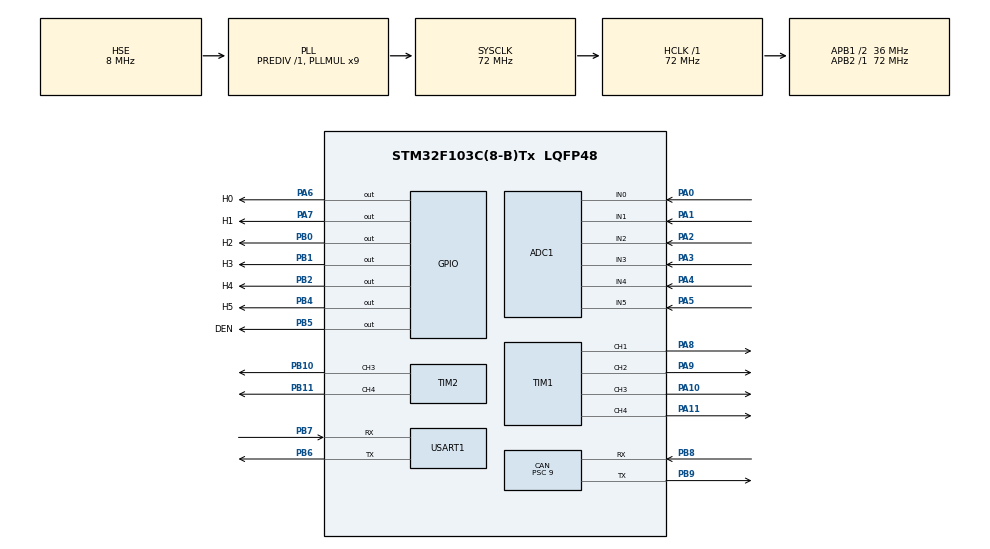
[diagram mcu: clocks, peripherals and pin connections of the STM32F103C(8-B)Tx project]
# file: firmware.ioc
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ADC1.Channel-0\#ChannelRegularConversion=ADC_CHANNEL_0
ADC1.Channel-1\#ChannelRegularConversion=ADC_CHANNEL_1
ADC1.Channel-2\#ChannelRegularConversion=ADC_CHANNEL_2
ADC1.Channel-3\#ChannelRegularConversion=ADC_CHANNEL_3
ADC1.Channel-4\#ChannelRegularConversion=ADC_CHANNEL_4
ADC1.Channel-5\#ChannelRegularConversion=ADC_CHANNEL_5
ADC1.Channel-6\#ChannelRegularConversion=ADC_CHANNEL_TEMPSENSOR
ADC1.NbrOfConversion=7
ADC1.NbrOfConversionFlag=1
ADC1.Rank-0\#ChannelRegularConversion=1
ADC1.Rank-1\#ChannelRegularConversion=2
ADC1.Rank-2\#ChannelRegularConversion=3
ADC1.Rank-3\#ChannelRegularConversion=4
ADC1.Rank-4\#ChannelRegularConversion=5
ADC1.Rank-5\#ChannelRegularConversion=6
ADC1.Rank-6\#ChannelRegularConversion=7
ADC1.SamplingTime-0\#ChannelRegularConversion=ADC_SAMPLETIME_239CYCLES_5
ADC1.SamplingTime-1\#ChannelRegularConversion=ADC_SAMPLETIME_239CYCLES_5
ADC1.SamplingTime-2\#ChannelRegularConversion=ADC_SAMPLETIME_239CYCLES_5
ADC1.SamplingTime-3\#ChannelRegularConversion=ADC_SAMPLETIME_239CYCLES_5
ADC1.SamplingTime-4\#ChannelRegularConversion=ADC_SAMPLETIME_239CYCLES_5
ADC1.SamplingTime-5\#ChannelRegularConversion=ADC_SAMPLETIME_239CYCLES_5
ADC1.SamplingTime-6\#ChannelRegularConversion=ADC_SAMPLETIME_239CYCLES_5
ADC1.master=1
CAN.BS1=CAN_BS1_6TQ
CAN.CalculateBaudRate=500000
CAN.CalculateTimeBit=2000
CAN.CalculateTimeQuantum=250.0
CAN.Mode=CAN_MODE_NORMAL
CAN.NART=ENABLE
CAN.Prescaler=9
Dma.ADC1.0.Direction=DMA_PERIPH_TO_MEMORY
Dma.ADC1.0.Instance=DMA1_Channel1
Dma.ADC1.0.MemDataAlignment=DMA_MDATAALIGN_HALFWORD
Dma.ADC1.0.MemInc=DMA_MINC_ENABLE
Dma.ADC1.0.Mode=DMA_NORMAL
Dma.ADC1.0.PeriphDataAlignment=DMA_PDATAALIGN_HALFWORD
Dma.ADC1.0.PeriphInc=DMA_PINC_DISABLE
Dma.ADC1.0.Priority=DMA_PRIORITY_LOW
Dma.Request0=ADC1
Mcu.Family=STM32F1
Mcu.Name=STM32F103C(8-B)Tx
Mcu.Package=LQFP48
NVIC.DMA1_Channel1_IRQn=true\:0\:0\:false\:false\:true\:false\:true\:true
NVIC.PriorityGroup=NVIC_PRIORITYGROUP_4
NVIC.USB_LP_CAN1_RX0_IRQn=true\:0\:0\:false\:false\:true\:true\:true\:true
PA0-WKUP.Signal=ADCx_IN0
PA1.Signal=ADCx_IN1
PA10.Signal=S_TIM1_CH3
PA11.Signal=S_TIM1_CH4
PA13.Mode=Trace_Asynchronous_SW
PA13.Signal=SYS_JTMS-SWDIO
PA14.Mode=Trace_Asynchronous_SW
PA14.Signal=SYS_JTCK-SWCLK
PA2.Signal=ADCx_IN2
PA3.Signal=ADCx_IN3
PA4.Signal=ADCx_IN4
PA5.Signal=ADCx_IN5
PA6.GPIO_Label=H0
PA6.Signal=GPIO_Output
PA7.GPIO_Label=H1
PA7.Signal=GPIO_Output
PA8.Signal=S_TIM1_CH1
PA9.Signal=S_TIM1_CH2
PB0.GPIO_Label=H2
PB0.Signal=GPIO_Output
PB1.GPIO_Label=H3
PB1.Signal=GPIO_Output
PB10.Signal=S_TIM2_CH3
PB11.Signal=S_TIM2_CH4
PB2.GPIO_Label=H4
PB2.Signal=GPIO_Output
PB3.Mode=Trace_Asynchronous_SW
PB3.Signal=SYS_JTDO-TRACESWO
PB4.GPIO_Label=H5
PB4.Signal=GPIO_Output
PB5.GPIO_Label=DEN
PB5.Signal=GPIO_Output
PB6.Mode=Asynchronous
PB6.Signal=USART1_TX
PB7.Mode=Asynchronous
PB7.Signal=USART1_RX
PB8.GPIO_Mode=GPIO_MODE_INPUT
PB8.GPIO_PuPd=GPIO_NOPULL
PB8.Mode=CAN_Activate
PB8.Signal=CAN_RX
PB9.Mode=CAN_Activate
PB9.Signal=CAN_TX
PD0-OSC_IN.Mode=HSE-External-Oscillator
PD0-OSC_IN.Signal=RCC_OSC_IN
PD1-OSC_OUT.Mode=HSE-External-Oscillator
PD1-OSC_OUT.Signal=RCC_OSC_OUT
ProjectManager.HeapSize=0x200
ProjectManager.StackSize=0x400
ProjectManager.TargetToolchain=Makefile
RCC.ADCPresc=RCC_ADCPCLK2_DIV6
RCC.AHBFreq_Value=72000000
RCC.APB1CLKDivider=RCC_HCLK_DIV2
RCC.APB1Freq_Value=36000000
RCC.APB1TimFreq_Value=72000000
RCC.APB2Freq_Value=72000000
RCC.APB2TimFreq_Value=72000000
RCC.HCLKFreq_Value=72000000
RCC.PLLMUL=RCC_PLL_MUL9
RCC.PLLSourceVirtual=RCC_PLLSOURCE_HSE
RCC.SYSCLKFreq_VALUE=72000000
RCC.SYSCLKSource=RCC_SYSCLKSOURCE_PLLCLK
RCC.USBFreq_Value=72000000
SH.ADCx_IN0.0=ADC1_IN0,IN0
SH.ADCx_IN1.0=ADC1_IN1,IN1
SH.ADCx_IN2.0=ADC1_IN2,IN2
SH.ADCx_IN3.0=ADC1_IN3,IN3
SH.ADCx_IN4.0=ADC1_IN4,IN4
SH.ADCx_IN5.0=ADC1_IN5,IN5
SH.S_TIM1_CH1.0=TIM1_CH1,PWM Generation1 CH1
SH.S_TIM1_CH2.0=TIM1_CH2,Output Compare2 CH2
SH.S_TIM1_CH3.0=TIM1_CH3,PWM Generation3 CH3
SH.S_TIM1_CH4.0=TIM1_CH4,PWM Generation4 CH4
SH.S_TIM2_CH3.0=TIM2_CH3,PWM Generation3 CH3
SH.S_TIM2_CH4.0=TIM2_CH4,PWM Generation4 CH4
TIM1.Channel-Output\ Compare2\ CH2=TIM_CHANNEL_2
TIM1.Channel-PWM\ Generation1\ CH1=TIM_CHANNEL_1
TIM1.Channel-PWM\ Generation3\ CH3=TIM_CHANNEL_3
TIM1.Channel-PWM\ Generation4\ CH4=TIM_CHANNEL_4
TIM2.Channel-PWM\ Generation3\ CH3=TIM_CHANNEL_3
TIM2.Channel-PWM\ Generation4\ CH4=TIM_CHANNEL_4
USART1.VirtualMode=VM_ASYNC
VP_ADC1_TempSens_Input.Mode=IN-TempSens
VP_TIM1_VS_ClockSourceINT.Mode=Internal
VP_TIM2_VS_ClockSourceINT.Mode=Internal
board=custom

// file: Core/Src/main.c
/* USER CODE BEGIN Header */
/**
  ******************************************************************************
  * @file           : main.c
  * @brief          : Main program body
  ******************************************************************************
  * @attention
  *
  * Copyright (c) 2023 STMicroelectronics.
  * All rights reserved.
  *
  * This software is licensed under terms that can be found in the LICENSE file
  * in the root directory of this software component.
  * If no LICENSE file comes with this software, it is provided AS-IS.
  *
  ******************************************************************************
  */
/* USER CODE END Header */
#include "main.h"

/* USER CODE BEGIN Includes */
#include "pwm.h"
#include "can-ids/CAN.h"
/* USER CODE END Includes */

ADC_HandleTypeDef hadc1;
DMA_HandleTypeDef hdma_adc1;

CAN_HandleTypeDef hcan;

TIM_HandleTypeDef htim1;
TIM_HandleTypeDef htim2;

UART_HandleTypeDef huart1;

/* USER CODE BEGIN PV */
volatile uint16_t adc_values[7];
/* USER CODE END PV */

void SystemClock_Config(void);
static void MX_GPIO_Init(void);
static void MX_DMA_Init(void);
static void MX_CAN_Init(void);
static void MX_ADC1_Init(void);
static void MX_TIM1_Init(void);
static void MX_TIM2_Init(void);
static void MX_USART1_UART_Init(void);
/* USER CODE BEGIN PFP */
void can_irq(CAN_HandleTypeDef *pcan);
/* USER CODE END PFP */

/* USER CODE BEGIN 0 */

uint16_t u8_to_duty(uint8_t val) {
  return ((uint32_t)val) * 65535 / 255;
}

// CAN Interrupt handler. Called whenever a new CAN frame is received.
void can_irq(CAN_HandleTypeDef *pcan) {
  // Message header
  CAN_RxHeaderTypeDef msg;
  // Message data. Only filled with as much data as the message contained, the rest is garbage.
  uint8_t data[8];

  // Read the next CAN frame
  HAL_CAN_GetRxMessage(pcan, CAN_RX_FIFO0, &msg, data);
  if(msg.IDE == CAN_ID_STD) { // Standard CAN ID, we don't use extended IDs.
    switch (msg.StdId)
      {
      // BCM Cannot reboot with bootloader or else everything connected to it will lose power and fail to respond
      // case BOOTLOADER_ID:
      //   __NVIC_SystemReset(); // Reset to bootloader
      //   break;
      case BCM_COMMAND_EV_ID:
        // set PWM duties for low-side drivers
        // pumps are on/off only
        uint8_t accum_pump_duty = read_field_u8(&BCM_COMMAND_EV_L0_AccumPump, data);
        if(accum_pump_duty > 0) accum_pump_duty = 255;

        uint8_t motor_pump_duty = read_field_u8(&BCM_COMMAND_EV_L1_MotorPump, data);
        if(motor_pump_duty > 0) motor_pump_duty = 255;

        pwm_duties[0] = u8_to_duty(accum_pump_duty);
        pwm_duties[1] = u8_to_duty(motor_pump_duty);

        pwm_duties[2] = u8_to_duty(read_field_u8(&BCM_COMMAND_EV_L2_AccumFan, data));
        pwm_duties[3] = u8_to_duty(read_field_u8(&BCM_COMMAND_EV_L3_MotorFan, data));
        pwm_duties[4] = u8_to_duty(read_field_u8(&BCM_COMMAND_EV_L4_BrakeLight, data));
        pwm_duties[5] = u8_to_duty(read_field_u8(&BCM_COMMAND_EV_L5_Sound, data));

        update_pwm();

        // set high-side drivers
        HAL_GPIO_WritePin(H0_GPIO_Port, H0_Pin, read_field_u8(&BCM_COMMAND_EV_H0_ShutdownPower, data));
        HAL_GPIO_WritePin(H1_GPIO_Port, H1_Pin, read_field_u8(&BCM_COMMAND_EV_H1_DashboardPower, data));
        HAL_GPIO_WritePin(H2_GPIO_Port, H2_Pin, read_field_u8(&BCM_COMMAND_EV_H2_BSPDPower, data));
        HAL_GPIO_WritePin(H3_GPIO_Port, H3_Pin, read_field_u8(&BCM_COMMAND_EV_H3_AccumulatorPower, data));

        // dont let the VCU commit suicide
        // HAL_GPIO_WritePin(H4_GPIO_Port, H4_Pin, 0);

        HAL_GPIO_WritePin(H5_GPIO_Port, H5_Pin, read_field_u8(&BCM_COMMAND_EV_H5_InverterPower, data));
        break;

      // case BCM_COMMAND_ID:
      //   uint8_t water_pump_duty = read_field_u8(&BCM_COMMAND_water_pump_duty, data);
      //   uint8_t rad_fan_duty = read_field_u8(&BCM_COMMAND_radiator_fan_duty, data);
      //   uint8_t extra_fan_duty = read_field_u8(&BCM_COMMAND_extra_fan_duty, data);

      //   pwm_duties[2] = ((uint32_t)water_pump_duty) * 65535 / 100;
      //   pwm_duties[5] = ((uint32_t)rad_fan_duty) * 65535 / 100;
      //   pwm_duties[4] = ((uint32_t)extra_fan_duty) * 65535 / 100;
      //   update_pwm();

      //   uint8_t upshift = read_field_u8(&BCM_COMMAND_upshift, data);
      //   uint8_t downshift = read_field_u8(&BCM_COMMAND_downshift, data);
      //   uint8_t brake_light = read_field_u8(&BCM_COMMAND_brake_light, data);

      //   HAL_GPIO_WritePin(H1_GPIO_Port, H1_Pin, upshift);
      //   HAL_GPIO_WritePin(H4_GPIO_Port, H4_Pin, downshift);
      //   HAL_GPIO_WritePin(H3_GPIO_Port, H3_Pin, brake_light);
      //   break;
      default:
        // Default behavior for unrecognized CAN IDs. Probably just ignore.
        break;
      }
  }

}

/* USER CODE END 0 */

int main(void)
{
  /* USER CODE BEGIN 1 */
  // Relocate vector table to work with bootloader
  // THIS IS CRITICAL FOR THE APP TO WORK, DO NOT DELETE!
  SCB->VTOR = (uint32_t)0x08003000;
  /* USER CODE END 1 */

  /* MCU Configuration--------------------------------------------------------*/

  /* Reset of all peripherals, Initializes the Flash interface and the Systick. */
  HAL_Init();

  /* Configure the system clock */
  SystemClock_Config();

  /* Initialize all configured peripherals */
  MX_GPIO_Init();
  MX_DMA_Init();
  MX_CAN_Init();
  MX_ADC1_Init();
  MX_TIM1_Init();
  MX_TIM2_Init();
  MX_USART1_UART_Init();
  /* USER CODE BEGIN 2 */

  // Calibrate The ADC On Power-Up For Better Accuracy
  HAL_ADCEx_Calibration_Start(&hadc1);

  /* USER CODE END 2 */

  /* Infinite loop */
  /* USER CODE BEGIN WHILE */
  uint32_t output_sw_timer = 0;
  for(uint8_t i = 0; i < 6; ++i){
    pwm_duties[i] = 0;
  }

  HAL_GPIO_WritePin(H0_GPIO_Port, H0_Pin, 0);
  HAL_GPIO_WritePin(H1_GPIO_Port, H1_Pin, 0);
  HAL_GPIO_WritePin(H2_GPIO_Port, H2_Pin, 0);
  HAL_GPIO_WritePin(H3_GPIO_Port, H3_Pin, 0);
  HAL_GPIO_WritePin(H4_GPIO_Port, H4_Pin, 0);
  HAL_GPIO_WritePin(H5_GPIO_Port, H5_Pin, 0);

  // VCU is constantly on
  HAL_GPIO_WritePin(H4_GPIO_Port, H4_Pin, 1);

  // why not turn on the inverter too?
  HAL_GPIO_WritePin(H5_GPIO_Port, H5_Pin, 1);

  pwm_frequency_01 = 24;
  pwm_frequency_2345 = 24;
  update_pwm();
  init_pwm();

  while (1)
  {
    HAL_Delay(50); // Main Loop (Could be done with systick instead)

    // Toggle status LED
    HAL_ADC_Start_DMA(&hadc1, (uint32_t *)adc_values, 1);
    // //pwm_frequency_01 = (pwm_frequency_01 + 1) % 16;
    // for(uint8_t i = 0; i < 6; ++i) {
    //   pwm_duties[i] += 100;
    //   if(pwm_duties[i] < 0x6000) pwm_duties[i] = 0x6000;
    // }
    // update_pwm();

    // output_sw_timer ++;
    // if(output_sw_timer > 50) {
    //   HAL_GPIO_TogglePin(H0_GPIO_Port, H0_Pin);
    //   HAL_GPIO_TogglePin(H1_GPIO_Port, H1_Pin);
    //   HAL_GPIO_TogglePin(H2_GPIO_Port, H2_Pin);
    //   HAL_GPIO_TogglePin(H3_GPIO_Port, H3_Pin);
    //   HAL_GPIO_TogglePin(H4_GPIO_Port, H4_Pin);
    //   HAL_GPIO_TogglePin(H5_GPIO_Port, H5_Pin);
    //   output_sw_timer = 0;
    // }

    /* USER CODE END WHILE */

  }
}

void SystemClock_Config(void)
{
  RCC_OscInitTypeDef RCC_OscInitStruct = {0};
  RCC_ClkInitTypeDef RCC_ClkInitStruct = {0};
  RCC_PeriphCLKInitTypeDef PeriphClkInit = {0};

  /** Initializes the RCC Oscillators according to the specified parameters
  * in the RCC_OscInitTypeDef structure.
  */
  RCC_OscInitStruct.OscillatorType = RCC_OSCILLATORTYPE_HSE;
  RCC_OscInitStruct.HSEState = RCC_HSE_ON;
  RCC_OscInitStruct.HSEPredivValue = RCC_HSE_PREDIV_DIV1;
  RCC_OscInitStruct.HSIState = RCC_HSI_ON;
  RCC_OscInitStruct.PLL.PLLState = RCC_PLL_ON;
  RCC_OscInitStruct.PLL.PLLSource = RCC_PLLSOURCE_HSE;
  RCC_OscInitStruct.PLL.PLLMUL = RCC_PLL_MUL9;
  if (HAL_RCC_OscConfig(&RCC_OscInitStruct) != HAL_OK)
  {
    Error_Handler();
  }

  /** Initializes the CPU, AHB and APB buses clocks
  */
  RCC_ClkInitStruct.ClockType = RCC_CLOCKTYPE_HCLK|RCC_CLOCKTYPE_SYSCLK
                              |RCC_CLOCKTYPE_PCLK1|RCC_CLOCKTYPE_PCLK2;
  RCC_ClkInitStruct.SYSCLKSource = RCC_SYSCLKSOURCE_PLLCLK;
  RCC_ClkInitStruct.AHBCLKDivider = RCC_SYSCLK_DIV1;
  RCC_ClkInitStruct.APB1CLKDivider = RCC_HCLK_DIV2;
  RCC_ClkInitStruct.APB2CLKDivider = RCC_HCLK_DIV1;

  if (HAL_RCC_ClockConfig(&RCC_ClkInitStruct, FLASH_LATENCY_2) != HAL_OK)
  {
    Error_Handler();
  }
  PeriphClkInit.PeriphClockSelection = RCC_PERIPHCLK_ADC;
  PeriphClkInit.AdcClockSelection = RCC_ADCPCLK2_DIV6;
  if (HAL_RCCEx_PeriphCLKConfig(&PeriphClkInit) != HAL_OK)
  {
    Error_Handler();
  }
}

static void MX_ADC1_Init(void)
{

  ADC_ChannelConfTypeDef sConfig = {0};

  /** Common config
  */
  hadc1.Instance = ADC1;
  hadc1.Init.ScanConvMode = ADC_SCAN_ENABLE;
  hadc1.Init.ContinuousConvMode = DISABLE;
  hadc1.Init.DiscontinuousConvMode = DISABLE;
  hadc1.Init.ExternalTrigConv = ADC_SOFTWARE_START;
  hadc1.Init.DataAlign = ADC_DATAALIGN_RIGHT;
  hadc1.Init.NbrOfConversion = 7;
  if (HAL_ADC_Init(&hadc1) != HAL_OK)
  {
    Error_Handler();
  }

  /** Configure Regular Channel
  */
  sConfig.Channel = ADC_CHANNEL_0;
  sConfig.Rank = ADC_REGULAR_RANK_1;
  sConfig.SamplingTime = ADC_SAMPLETIME_239CYCLES_5;
  if (HAL_ADC_ConfigChannel(&hadc1, &sConfig) != HAL_OK)
  {
    Error_Handler();
  }

  /** Configure Regular Channel
  */
  sConfig.Channel = ADC_CHANNEL_1;
  sConfig.Rank = ADC_REGULAR_RANK_2;
  if (HAL_ADC_ConfigChannel(&hadc1, &sConfig) != HAL_OK)
  {
    Error_Handler();
  }

  /** Configure Regular Channel
  */
  sConfig.Channel = ADC_CHANNEL_2;
  sConfig.Rank = ADC_REGULAR_RANK_3;
  if (HAL_ADC_ConfigChannel(&hadc1, &sConfig) != HAL_OK)
  {
    Error_Handler();
  }

  /** Configure Regular Channel
  */
  sConfig.Channel = ADC_CHANNEL_3;
  sConfig.Rank = ADC_REGULAR_RANK_4;
  if (HAL_ADC_ConfigChannel(&hadc1, &sConfig) != HAL_OK)
  {
    Error_Handler();
  }

  /** Configure Regular Channel
  */
  sConfig.Channel = ADC_CHANNEL_4;
  sConfig.Rank = ADC_REGULAR_RANK_5;
  if (HAL_ADC_ConfigChannel(&hadc1, &sConfig) != HAL_OK)
  {
    Error_Handler();
  }

  /** Configure Regular Channel
  */
  sConfig.Channel = ADC_CHANNEL_5;
  sConfig.Rank = ADC_REGULAR_RANK_6;
  if (HAL_ADC_ConfigChannel(&hadc1, &sConfig) != HAL_OK)
  {
    Error_Handler();
  }

  /** Configure Regular Channel
  */
  sConfig.Channel = ADC_CHANNEL_TEMPSENSOR;
  sConfig.Rank = ADC_REGULAR_RANK_7;
  if (HAL_ADC_ConfigChannel(&hadc1, &sConfig) != HAL_OK)
  {
    Error_Handler();
  }

}

static void MX_CAN_Init(void)
{

  hcan.Instance = CAN1;
  hcan.Init.Prescaler = 9;
  hcan.Init.Mode = CAN_MODE_NORMAL;
  hcan.Init.SyncJumpWidth = CAN_SJW_1TQ;
  hcan.Init.TimeSeg1 = CAN_BS1_6TQ;
  hcan.Init.TimeSeg2 = CAN_BS2_1TQ;
  hcan.Init.TimeTriggeredMode = DISABLE;
  hcan.Init.AutoBusOff = DISABLE;
  hcan.Init.AutoWakeUp = DISABLE;
  hcan.Init.AutoRetransmission = ENABLE;
  hcan.Init.ReceiveFifoLocked = DISABLE;
  hcan.Init.TransmitFifoPriority = DISABLE;
  if (HAL_CAN_Init(&hcan) != HAL_OK)
  {
    Error_Handler();
  }
  /* USER CODE BEGIN CAN_Init 2 */
  // Accept all CAN messages
  CAN_FilterTypeDef sf;
  sf.FilterMaskIdHigh = 0x0000;
  sf.FilterMaskIdLow = 0x0000;
  sf.FilterFIFOAssignment = CAN_FILTER_FIFO0;
  sf.FilterBank = 0;
  sf.FilterMode = CAN_FILTERMODE_IDMASK;
  sf.FilterScale = CAN_FILTERSCALE_32BIT;
  sf.FilterActivation = CAN_FILTER_ENABLE;

  if (HAL_CAN_ConfigFilter(&hcan, &sf) != HAL_OK) {
    Error_Handler();
  }

  if (HAL_CAN_RegisterCallback(&hcan, HAL_CAN_RX_FIFO0_MSG_PENDING_CB_ID, can_irq)) {
    Error_Handler();
  }

  if (HAL_CAN_Start(&hcan) != HAL_OK) {
    Error_Handler();
  }

  if (HAL_CAN_ActivateNotification(&hcan, CAN_IT_RX_FIFO0_MSG_PENDING) != HAL_OK) {
    Error_Handler();
  }

  /* USER CODE END CAN_Init 2 */

}

static void MX_TIM1_Init(void)
{

  TIM_ClockConfigTypeDef sClockSourceConfig = {0};
  TIM_MasterConfigTypeDef sMasterConfig = {0};
  TIM_OC_InitTypeDef sConfigOC = {0};
  TIM_BreakDeadTimeConfigTypeDef sBreakDeadTimeConfig = {0};

  htim1.Instance = TIM1;
  htim1.Init.Prescaler = 0;
  htim1.Init.CounterMode = TIM_COUNTERMODE_UP;
  htim1.Init.Period = 65535;
  htim1.Init.ClockDivision = TIM_CLOCKDIVISION_DIV1;
  htim1.Init.RepetitionCounter = 0;
  htim1.Init.AutoReloadPreload = TIM_AUTORELOAD_PRELOAD_DISABLE;
  if (HAL_TIM_Base_Init(&htim1) != HAL_OK)
  {
    Error_Handler();
  }
  sClockSourceConfig.ClockSource = TIM_CLOCKSOURCE_INTERNAL;
  if (HAL_TIM_ConfigClockSource(&htim1, &sClockSourceConfig) != HAL_OK)
  {
    Error_Handler();
  }
  if (HAL_TIM_PWM_Init(&htim1) != HAL_OK)
  {
    Error_Handler();
  }
  if (HAL_TIM_OC_Init(&htim1) != HAL_OK)
  {
    Error_Handler();
  }
  sMasterConfig.MasterOutputTrigger = TIM_TRGO_RESET;
  sMasterConfig.MasterSlaveMode = TIM_MASTERSLAVEMODE_DISABLE;
  if (HAL_TIMEx_MasterConfigSynchronization(&htim1, &sMasterConfig) != HAL_OK)
  {
    Error_Handler();
  }
  sConfigOC.OCMode = TIM_OCMODE_PWM1;
  sConfigOC.Pulse = 0;
  sConfigOC.OCPolarity = TIM_OCPOLARITY_HIGH;
  sConfigOC.OCNPolarity = TIM_OCNPOLARITY_HIGH;
  sConfigOC.OCFastMode = TIM_OCFAST_DISABLE;
  sConfigOC.OCIdleState = TIM_OCIDLESTATE_RESET;
  sConfigOC.OCNIdleState = TIM_OCNIDLESTATE_RESET;
  if (HAL_TIM_PWM_ConfigChannel(&htim1, &sConfigOC, TIM_CHANNEL_1) != HAL_OK)
  {
    Error_Handler();
  }
  sConfigOC.OCMode = TIM_OCMODE_TIMING;
  if (HAL_TIM_OC_ConfigChannel(&htim1, &sConfigOC, TIM_CHANNEL_2) != HAL_OK)
  {
    Error_Handler();
  }
  sConfigOC.OCMode = TIM_OCMODE_PWM1;
  if (HAL_TIM_PWM_ConfigChannel(&htim1, &sConfigOC, TIM_CHANNEL_3) != HAL_OK)
  {
    Error_Handler();
  }
  if (HAL_TIM_PWM_ConfigChannel(&htim1, &sConfigOC, TIM_CHANNEL_4) != HAL_OK)
  {
    Error_Handler();
  }
  sBreakDeadTimeConfig.OffStateRunMode = TIM_OSSR_DISABLE;
  sBreakDeadTimeConfig.OffStateIDLEMode = TIM_OSSI_DISABLE;
  sBreakDeadTimeConfig.LockLevel = TIM_LOCKLEVEL_OFF;
  sBreakDeadTimeConfig.DeadTime = 0;
  sBreakDeadTimeConfig.BreakState = TIM_BREAK_DISABLE;
  sBreakDeadTimeConfig.BreakPolarity = TIM_BREAKPOLARITY_HIGH;
  sBreakDeadTimeConfig.AutomaticOutput = TIM_AUTOMATICOUTPUT_DISABLE;
  if (HAL_TIMEx_ConfigBreakDeadTime(&htim1, &sBreakDeadTimeConfig) != HAL_OK)
  {
    Error_Handler();
  }
  HAL_TIM_MspPostInit(&htim1);

}

static void MX_TIM2_Init(void)
{

  TIM_ClockConfigTypeDef sClockSourceConfig = {0};
  TIM_MasterConfigTypeDef sMasterConfig = {0};
  TIM_OC_InitTypeDef sConfigOC = {0};

  htim2.Instance = TIM2;
  htim2.Init.Prescaler = 0;
  htim2.Init.CounterMode = TIM_COUNTERMODE_UP;
  htim2.Init.Period = 65535;
  htim2.Init.ClockDivision = TIM_CLOCKDIVISION_DIV1;
  htim2.Init.AutoReloadPreload = TIM_AUTORELOAD_PRELOAD_DISABLE;
  if (HAL_TIM_Base_Init(&htim2) != HAL_OK)
  {
    Error_Handler();
  }
  sClockSourceConfig.ClockSource = TIM_CLOCKSOURCE_INTERNAL;
  if (HAL_TIM_ConfigClockSource(&htim2, &sClockSourceConfig) != HAL_OK)
  {
    Error_Handler();
  }
  if (HAL_TIM_PWM_Init(&htim2) != HAL_OK)
  {
    Error_Handler();
  }
  sMasterConfig.MasterOutputTrigger = TIM_TRGO_RESET;
  sMasterConfig.MasterSlaveMode = TIM_MASTERSLAVEMODE_DISABLE;
  if (HAL_TIMEx_MasterConfigSynchronization(&htim2, &sMasterConfig) != HAL_OK)
  {
    Error_Handler();
  }
  sConfigOC.OCMode = TIM_OCMODE_PWM1;
  sConfigOC.Pulse = 0;
  sConfigOC.OCPolarity = TIM_OCPOLARITY_HIGH;
  sConfigOC.OCFastMode = TIM_OCFAST_DISABLE;
  if (HAL_TIM_PWM_ConfigChannel(&htim2, &sConfigOC, TIM_CHANNEL_3) != HAL_OK)
  {
    Error_Handler();
  }
  if (HAL_TIM_PWM_ConfigChannel(&htim2, &sConfigOC, TIM_CHANNEL_4) != HAL_OK)
  {
    Error_Handler();
  }
  HAL_TIM_MspPostInit(&htim2);

}

static void MX_USART1_UART_Init(void)
{

  huart1.Instance = USART1;
  huart1.Init.BaudRate = 115200;
  huart1.Init.WordLength = UART_WORDLENGTH_8B;
  huart1.Init.StopBits = UART_STOPBITS_1;
  huart1.Init.Parity = UART_PARITY_NONE;
  huart1.Init.Mode = UART_MODE_TX_RX;
  huart1.Init.HwFlowCtl = UART_HWCONTROL_NONE;
  huart1.Init.OverSampling = UART_OVERSAMPLING_16;
  if (HAL_UART_Init(&huart1) != HAL_OK)
  {
    Error_Handler();
  }

}

static void MX_DMA_Init(void)
{

  /* DMA controller clock enable */
  __HAL_RCC_DMA1_CLK_ENABLE();

  /* DMA interrupt init */
  /* DMA1_Channel1_IRQn interrupt configuration */
  HAL_NVIC_SetPriority(DMA1_Channel1_IRQn, 0, 0);
  HAL_NVIC_EnableIRQ(DMA1_Channel1_IRQn);

}

static void MX_GPIO_Init(void)
{
  GPIO_InitTypeDef GPIO_InitStruct = {0};

  /* GPIO Ports Clock Enable */
  __HAL_RCC_GPIOD_CLK_ENABLE();
  __HAL_RCC_GPIOA_CLK_ENABLE();
  __HAL_RCC_GPIOB_CLK_ENABLE();

  /*Configure GPIO pin Output Level */
  HAL_GPIO_WritePin(GPIOA, H0_Pin|H1_Pin, GPIO_PIN_RESET);

  /*Configure GPIO pin Output Level */
  HAL_GPIO_WritePin(GPIOB, H2_Pin|H3_Pin|H4_Pin|H5_Pin
                          |DEN_Pin, GPIO_PIN_RESET);

  /*Configure GPIO pins : H0_Pin H1_Pin */
  GPIO_InitStruct.Pin = H0_Pin|H1_Pin;
  GPIO_InitStruct.Mode = GPIO_MODE_OUTPUT_PP;
  GPIO_InitStruct.Pull = GPIO_NOPULL;
  GPIO_InitStruct.Speed = GPIO_SPEED_FREQ_LOW;
  HAL_GPIO_Init(GPIOA, &GPIO_InitStruct);

  /*Configure GPIO pins : H2_Pin H3_Pin H4_Pin H5_Pin
                           DEN_Pin */
  GPIO_InitStruct.Pin = H2_Pin|H3_Pin|H4_Pin|H5_Pin
                          |DEN_Pin;
  GPIO_InitStruct.Mode = GPIO_MODE_OUTPUT_PP;
  GPIO_InitStruct.Pull = GPIO_NOPULL;
  GPIO_InitStruct.Speed = GPIO_SPEED_FREQ_LOW;
  HAL_GPIO_Init(GPIOB, &GPIO_InitStruct);

}

void Error_Handler(void)
{
  __disable_irq();
  while (1)
  {
  }
}
